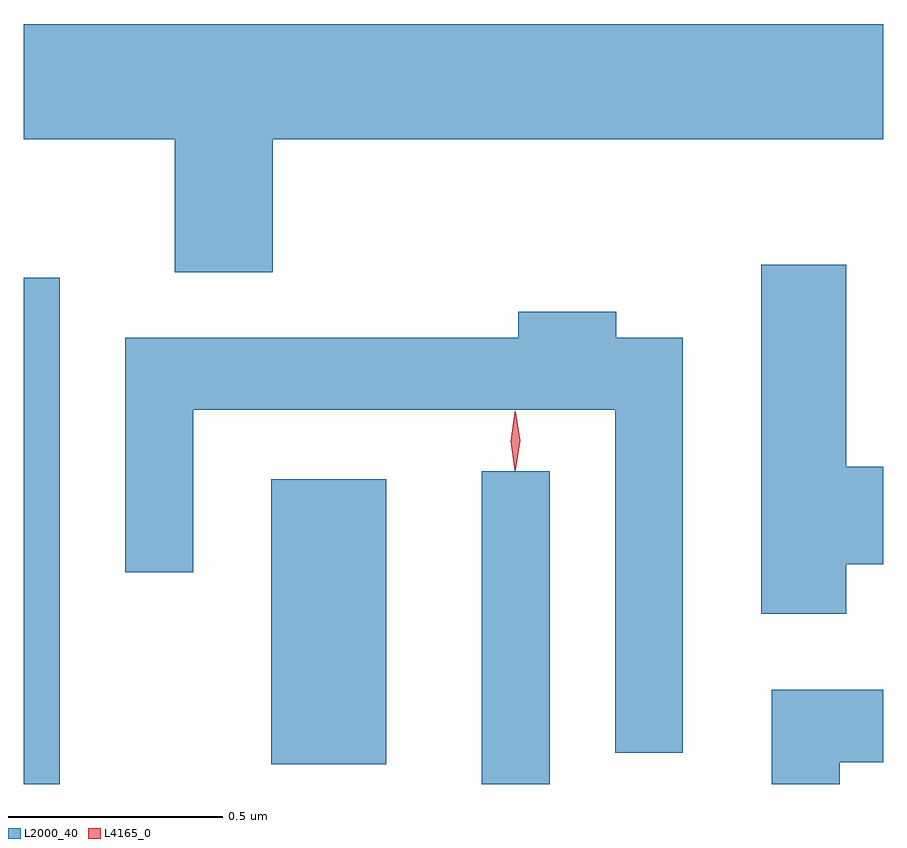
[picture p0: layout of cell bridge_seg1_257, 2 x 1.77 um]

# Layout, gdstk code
import gdstk
lib = gdstk.Library(unit=1e-6, precision=1e-09)
def R(c, l, rs):  # rectangles x0, y0, x1, y1
    for r in rs: c.add(gdstk.rectangle(r[:2], r[2:], *l))
def P(c, l, *ps):  # polygons
    for p in ps: c.add(gdstk.Polygon(p, *l))
L2000_40 = (2000, 40)
L4165_0 = (4165, 0)

bridge_seg1_257 = lib.new_cell('bridge_seg1_257')
R(bridge_seg1_257, L2000_40, [(955.06,893.635,955.144,894.813), (956.126,893.635,956.284,894.363), (955.636,893.681,955.904,894.344)])
P(bridge_seg1_257, L2000_40, [(955.639,895.136),(957.06,895.136),(957.06,895.404),(955.06,895.404),(955.06,895.136),(955.411,895.136),(955.411,894.826),(955.639,894.826)],
  [(956.974,894.146),(957.06,894.146),(957.06,894.374),(956.974,894.374),(956.974,894.844),(956.776,894.844),(956.776,894.031),(956.974,894.031)],
  [(956.594,894.674),(956.439,894.674),(956.439,894.734),(956.211,894.734),(956.211,894.674),(955.296,894.674),(955.296,894.128),(955.454,894.128),(955.454,894.506),(956.436,894.506),(956.436,893.708),(956.594,893.708)],
  [(956.959,893.686),(957.06,893.686),(957.06,893.854),(956.801,893.854),(956.801,893.635),(956.959,893.635)])
P(bridge_seg1_257, L4165_0, [(956.203,894.364),(956.203,894.364),(956.193,894.433),(956.203,894.502),(956.203,894.503),(956.204,894.502),(956.213,894.433),(956.204,894.364)],
  [(956.205,894.367),(956.204,894.368),(956.195,894.434),(956.204,894.5),(956.205,894.501),(956.205,894.5),(956.215,894.434),(956.205,894.368)])

lib.write_gds('bridge_seg1_257.gds')
